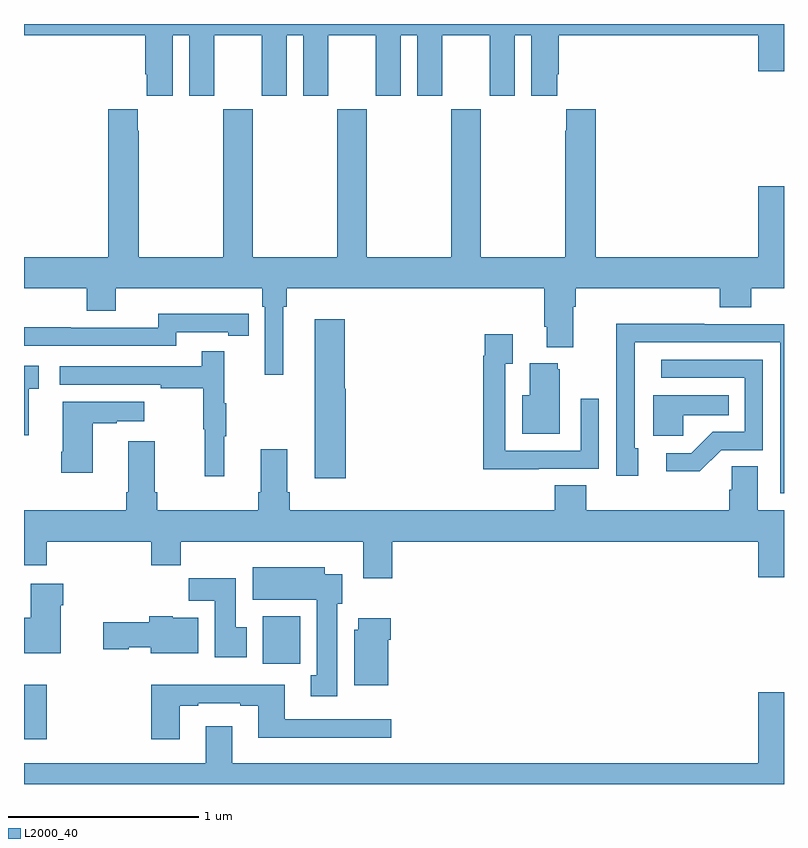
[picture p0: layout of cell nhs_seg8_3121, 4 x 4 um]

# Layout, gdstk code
import gdstk
lib = gdstk.Library(unit=1e-6, precision=1e-09)
def R(c, l, rs):  # rectangles x0, y0, x1, y1
    for r in rs: c.add(gdstk.rectangle(r[:2], r[2:], *l))
def P(c, l, *ps):  # polygons
    for p in ps: c.add(gdstk.Polygon(p, *l))
L2000_40 = (2000, 40)

nhs_seg8_3121 = lib.new_cell('nhs_seg8_3121')
R(nhs_seg8_3121, L2000_40, [(305,1106.136,305.12,1106.422), (306.257,1106.532,306.453,1106.782)])
P(nhs_seg8_3121, L2000_40, [(305.782,1109.84),(305.87,1109.84),(305.87,1109.523),(306.001,1109.523),(306.001,1109.84),(306.251,1109.84),(306.251,1109.523),(306.382,1109.523),(306.382,1109.84),(306.47,1109.84),(306.47,1109.523),(306.601,1109.523),(306.601,1109.84),(306.851,1109.84),(306.851,1109.523),(306.982,1109.523),(306.982,1109.84),(307.07,1109.84),(307.07,1109.523),(307.201,1109.523),(307.201,1109.84),(307.451,1109.84),(307.451,1109.523),(307.582,1109.523),(307.582,1109.84),(307.67,1109.84),(307.67,1109.523),(307.807,1109.523),(307.807,1109.635),(307.814,1109.635),(307.814,1109.84),(308.864,1109.84),(308.864,1109.652),(309,1109.652),(309,1109.9),(305,1109.9),(305,1109.84),(305.639,1109.84),(305.639,1109.635),(305.645,1109.635),(305.645,1109.523),(305.782,1109.523)],
  [(306.364,1108.412),(306.383,1108.412),(306.383,1108.508),(307.739,1108.508),(307.739,1108.306),(307.751,1108.306),(307.751,1108.199),(307.891,1108.199),(307.891,1108.412),(307.904,1108.412),(307.904,1108.508),(308.663,1108.508),(308.663,1108.409),(308.828,1108.409),(308.828,1108.508),(309,1108.508),(309,1109.047),(308.864,1109.047),(308.864,1108.672),(308.009,1108.672),(308.009,1109.452),(307.853,1109.452),(307.853,1109.339),(307.849,1109.339),(307.849,1108.672),(307.404,1108.672),(307.404,1109.452),(307.249,1109.452),(307.249,1108.672),(306.804,1108.672),(306.804,1109.452),(306.649,1109.452),(306.649,1108.672),(306.204,1108.672),(306.204,1109.452),(306.049,1109.452),(306.049,1108.672),(305.604,1108.672),(305.604,1109.339),(305.599,1109.339),(305.599,1109.452),(305.444,1109.452),(305.444,1108.672),(305,1108.672),(305,1108.508),(305.33,1108.508),(305.33,1108.391),(305.482,1108.391),(305.482,1108.508),(306.254,1108.508),(306.254,1108.412),(306.267,1108.412),(306.267,1108.053),(306.364,1108.053)],
  [(305.802,1108.278),(306.074,1108.278),(306.074,1108.258),(306.182,1108.258),(306.182,1108.374),(306.074,1108.374),(306.074,1108.375),(305.706,1108.375),(305.706,1108.302),(305.246,1108.302),(305.246,1108.304),(305,1108.304),(305,1108.206),(305.802,1108.206)],
  [(306.694,1107.981),(306.689,1107.981),(306.689,1108.345),(306.53,1108.345),(306.53,1107.51),(306.694,1107.51)],
  [(309,1108.32),(308.579,1108.32),(308.579,1108.322),(308.116,1108.322),(308.116,1108.015),(308.118,1108.015),(308.118,1107.522),(308.233,1107.522),(308.233,1107.666),(308.214,1107.666),(308.214,1107.97),(308.215,1107.97),(308.215,1108.224),(308.979,1108.224),(308.979,1107.429),(309,1107.429)],
  [(307.709,1107.558),(308.025,1107.558),(308.025,1107.928),(307.929,1107.928),(307.929,1107.654),(307.533,1107.654),(307.533,1108.111),(307.573,1108.111),(307.573,1108.267),(307.425,1108.267),(307.425,1108.154),(307.417,1108.154),(307.417,1107.557),(307.709,1107.557)],
  [(306.053,1107.731),(306.064,1107.731),(306.064,1107.905),(306.053,1107.905),(306.053,1108.177),(305.935,1108.177),(305.935,1108.098),(305.187,1108.098),(305.187,1108.002),(305.719,1108.002),(305.719,1107.982),(305.943,1107.982),(305.943,1107.768),(305.95,1107.768),(305.95,1107.519),(306.053,1107.519)],
  [(308.67,1107.657),(308.889,1107.657),(308.889,1108.134),(308.355,1108.134),(308.355,1108.038),(308.793,1108.038),(308.793,1107.753),(308.624,1107.753),(308.513,1107.642),(308.379,1107.642),(308.379,1107.545),(308.557,1107.545)],
  [(307.819,1108.083),(307.808,1108.083),(307.808,1108.114),(307.661,1108.114),(307.661,1107.946),(307.622,1107.946),(307.622,1107.743),(307.819,1107.743)],
  [(305.024,1107.981),(305.077,1107.981),(305.077,1108.102),(305,1108.102),(305,1107.735),(305.024,1107.735)],
  [(308.469,1107.842),(308.708,1107.842),(308.708,1107.946),(308.312,1107.946),(308.312,1107.734),(308.469,1107.734)],
  [(305.362,1107.799),(305.489,1107.799),(305.489,1107.809),(305.632,1107.809),(305.632,1107.913),(305.204,1107.913),(305.204,1107.649),(305.197,1107.649),(305.197,1107.537),(305.362,1107.537)],
  [(306.938,1107.176),(308.864,1107.176),(308.864,1106.988),(309,1106.988),(309,1107.34),(308.863,1107.34),(308.863,1107.572),(308.724,1107.572),(308.724,1107.449),(308.711,1107.449),(308.711,1107.34),(307.958,1107.34),(307.958,1107.473),(307.793,1107.473),(307.793,1107.34),(306.398,1107.34),(306.398,1107.436),(306.385,1107.436),(306.385,1107.661),(306.245,1107.661),(306.245,1107.436),(306.233,1107.436),(306.233,1107.34),(305.702,1107.34),(305.702,1107.436),(305.689,1107.436),(305.689,1107.703),(305.549,1107.703),(305.549,1107.436),(305.537,1107.436),(305.537,1107.34),(305,1107.34),(305,1107.052),(305.12,1107.052),(305.12,1107.176),(305.669,1107.176),(305.669,1107.052),(305.825,1107.052),(305.825,1107.176),(306.785,1107.176),(306.785,1106.982),(306.938,1106.982)],
  [(306.649,1106.85),(306.676,1106.85),(306.676,1107.004),(306.583,1107.004),(306.583,1107.04),(306.203,1107.04),(306.203,1106.87),(306.542,1106.87),(306.542,1106.473),(306.509,1106.473),(306.509,1106.361),(306.649,1106.361)],
  [(306.172,1106.724),(306.115,1106.724),(306.115,1106.982),(305.866,1106.982),(305.866,1106.864),(306.005,1106.864),(306.005,1106.568),(306.172,1106.568)],
  [(305.194,1106.84),(305.207,1106.84),(305.207,1106.953),(305.036,1106.953),(305.036,1106.776),(305,1106.776),(305,1106.588),(305.194,1106.588)],
  [(305.917,1106.776),(305.784,1106.776),(305.784,1106.782),(305.659,1106.782),(305.659,1106.751),(305.418,1106.751),(305.418,1106.609),(305.55,1106.609),(305.55,1106.621),(305.666,1106.621),(305.666,1106.588),(305.917,1106.588)],
  [(306.916,1106.66),(306.929,1106.66),(306.929,1106.773),(306.758,1106.773),(306.758,1106.712),(306.737,1106.712),(306.737,1106.42),(306.916,1106.42)],
  [(305.821,1106.313),(305.917,1106.313),(305.917,1106.325),(306.137,1106.325),(306.137,1106.313),(306.233,1106.313),(306.233,1106.144),(306.934,1106.144),(306.934,1106.241),(306.373,1106.241),(306.373,1106.422),(305.669,1106.422),(305.669,1106.136),(305.821,1106.136)],
  [(309,1106.383),(308.864,1106.383),(308.864,1106.008),(306.097,1106.008),(306.097,1106.203),(305.957,1106.203),(305.957,1106.008),(305,1106.008),(305,1105.9),(309,1105.9)])

lib.write_gds('nhs_seg8_3121.gds')
